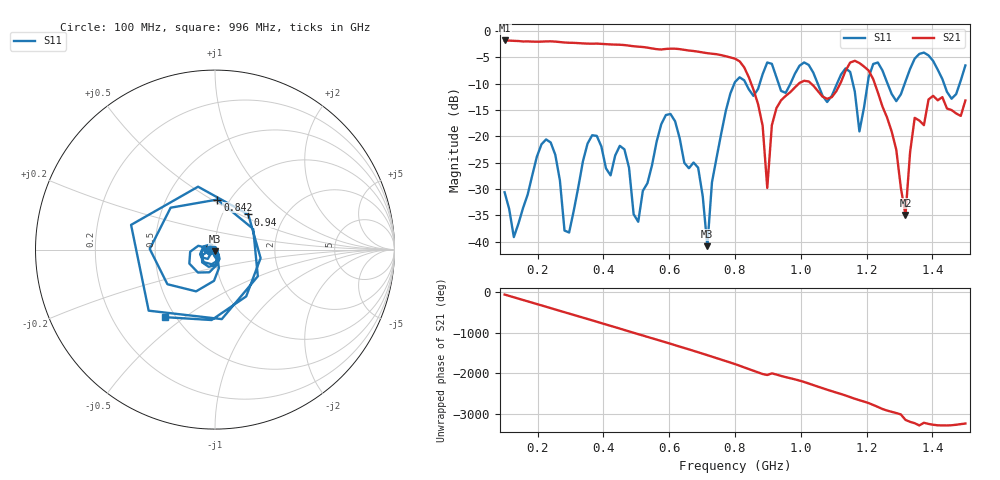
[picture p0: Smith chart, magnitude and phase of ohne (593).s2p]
! NanoVNA-App
! Date: 2025-09-25 14:25:25
! Start: 100MHz Stop: 1,5GHz Points: 101
! S-Parameter data: F S11 S21 S12 S22
# Hz S RI R 50
!  Frequency  S11_Real  S11_Imag  S21_Real  S21_Imag  S12_Real  S12_Imag  S22_Real  S22_Imag
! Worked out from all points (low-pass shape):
!   101 points, 100 MHz to 1.5 GHz, reference 50 ohm
!   highest |S21| = -1.79 dB at 100 MHz (marker M1); lowest = -35.0 dB at 1.318 GHz (marker M2)
!   |S21| within 3 dB of the highest: start of sweep to 772.1 MHz
!   lowest |S11| = -40.9 dB at 716 MHz (marker M3), VSWR 1.02, Z = 49.9 - j0.891 ohm
!   |S11| at or under -10 dB: start of sweep to 798 MHz; 833.2 MHz to 875.1 MHz (41.9 MHz wide, 4.91 % of centre); 1.051 GHz to 1.11 GHz (58.58 MHz wide, 5.42 % of centre) (the widest 3 of 7)
!   S12 and S22 are empty: the file has one direction only
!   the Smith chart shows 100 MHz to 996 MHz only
!   S11 on the Smith chart (normalised r, x): 100 MHz: 0.94, -0.01; 842 MHz: 0.88, +0.53; 940 MHz: 1.32, +0.56; 996 MHz: 0.44, -0.42
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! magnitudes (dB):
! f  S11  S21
! 100 MHz  -30.6  -1.8
! 128 MHz  -39.2  -1.9
! 226 MHz  -20.6  -2.0
! 296 MHz  -38.3  -2.2
! 338 MHz  -24.7  -2.4
! 464 MHz  -22.5  -2.7
! 506 MHz  -36.2  -3.0
! 576 MHz  -17.7  -3.5
! 688 MHz  -26.0  -3.9
! 716 MHz  -40.9  -4.2
! 800 MHz  -9.7  -5.3
! 842 MHz  -11.1  -8.8
! 898 MHz  -6.0  -29.8
! 940 MHz  -11.4  -13.2
! 996 MHz  -6.6  -9.9
! 1.038 GHz  -7.9  -10.4
! 1.178 GHz  -19.1  -6.1
! 1.22 GHz  -6.3  -9.2
! 1.276 GHz  -12.0  -19.1
! 1.318 GHz  -9.6  -35.0
! 1.346 GHz  -5.2  -16.5
! 1.5 GHz  -6.5  -13.2
